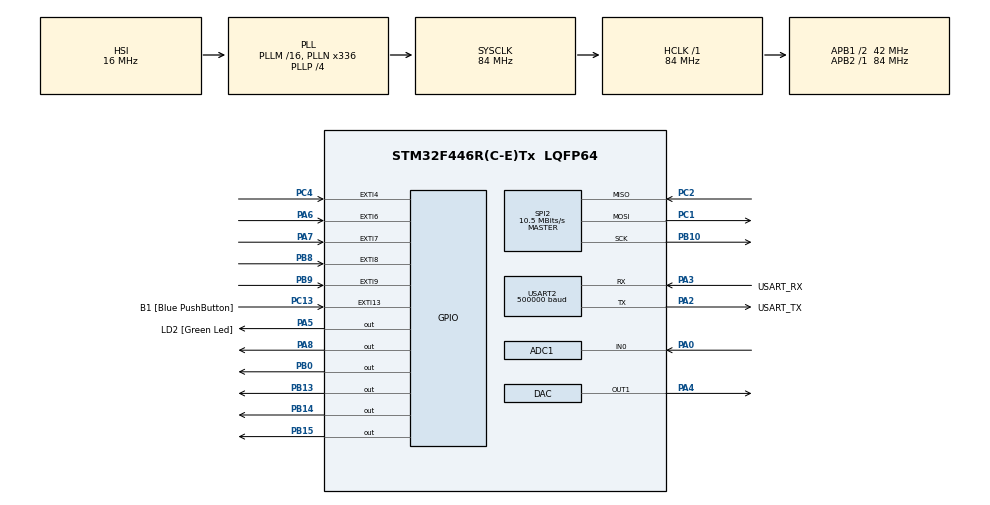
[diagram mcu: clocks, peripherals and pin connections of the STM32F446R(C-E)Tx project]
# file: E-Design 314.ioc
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ADC1.Channel-0\#ChannelRegularConversion=ADC_CHANNEL_0
ADC1.DMAContinuousRequests=ENABLE
ADC1.ExternalTrigConv=ADC_EXTERNALTRIGCONV_T8_TRGO
ADC1.NbrOfConversion=1
ADC1.NbrOfConversionFlag=1
ADC1.Rank-0\#ChannelRegularConversion=1
ADC1.Resolution=ADC_RESOLUTION_8B
ADC1.SamplingTime-0\#ChannelRegularConversion=ADC_SAMPLETIME_3CYCLES
ADC1.master=1
DAC.DAC_Trigger=DAC_TRIGGER_T8_TRGO
Dma.ADC1.2.Direction=DMA_PERIPH_TO_MEMORY
Dma.ADC1.2.FIFOMode=DMA_FIFOMODE_DISABLE
Dma.ADC1.2.Instance=DMA2_Stream0
Dma.ADC1.2.MemDataAlignment=DMA_MDATAALIGN_BYTE
Dma.ADC1.2.MemInc=DMA_MINC_ENABLE
Dma.ADC1.2.Mode=DMA_CIRCULAR
Dma.ADC1.2.PeriphDataAlignment=DMA_PDATAALIGN_BYTE
Dma.ADC1.2.PeriphInc=DMA_PINC_DISABLE
Dma.ADC1.2.Priority=DMA_PRIORITY_LOW
Dma.DAC1.0.Direction=DMA_MEMORY_TO_PERIPH
Dma.DAC1.0.FIFOMode=DMA_FIFOMODE_DISABLE
Dma.DAC1.0.Instance=DMA1_Stream5
Dma.DAC1.0.MemDataAlignment=DMA_MDATAALIGN_HALFWORD
Dma.DAC1.0.MemInc=DMA_MINC_ENABLE
Dma.DAC1.0.Mode=DMA_NORMAL
Dma.DAC1.0.PeriphDataAlignment=DMA_PDATAALIGN_HALFWORD
Dma.DAC1.0.PeriphInc=DMA_PINC_DISABLE
Dma.DAC1.0.Priority=DMA_PRIORITY_LOW
Dma.Request0=DAC1
Dma.Request1=USART2_TX
Dma.Request2=ADC1
Dma.USART2_TX.1.Direction=DMA_MEMORY_TO_PERIPH
Dma.USART2_TX.1.FIFOMode=DMA_FIFOMODE_DISABLE
Dma.USART2_TX.1.Instance=DMA1_Stream6
Dma.USART2_TX.1.MemDataAlignment=DMA_MDATAALIGN_BYTE
Dma.USART2_TX.1.MemInc=DMA_MINC_ENABLE
Dma.USART2_TX.1.Mode=DMA_NORMAL
Dma.USART2_TX.1.PeriphDataAlignment=DMA_PDATAALIGN_BYTE
Dma.USART2_TX.1.PeriphInc=DMA_PINC_DISABLE
Dma.USART2_TX.1.Priority=DMA_PRIORITY_LOW
Mcu.Family=STM32F4
Mcu.Name=STM32F446R(C-E)Tx
Mcu.Package=LQFP64
NVIC.DMA1_Stream5_IRQn=true\:0\:0\:false\:false\:true\:false\:true
NVIC.DMA1_Stream6_IRQn=true\:0\:0\:false\:false\:true\:false\:true
NVIC.DMA2_Stream0_IRQn=true\:0\:0\:false\:false\:true\:false\:true
NVIC.EXTI15_10_IRQn=true\:0\:0\:false\:false\:true\:true\:true
NVIC.EXTI4_IRQn=true\:0\:0\:false\:false\:true\:true\:true
NVIC.EXTI9_5_IRQn=true\:0\:0\:false\:false\:true\:true\:true
NVIC.PriorityGroup=NVIC_PRIORITYGROUP_0
NVIC.TIM3_IRQn=true\:0\:0\:false\:false\:true\:true\:true
PA0-WKUP.Signal=ADCx_IN0
PA13.GPIO_Label=TMS
PA13.Mode=Serial_Wire
PA13.Signal=SYS_JTMS-SWDIO
PA14.GPIO_Label=TCK
PA14.Mode=Serial_Wire
PA14.Signal=SYS_JTCK-SWCLK
PA2.GPIO_Label=USART_TX
PA2.Mode=Asynchronous
PA2.Signal=USART2_TX
PA3.GPIO_Label=USART_RX
PA3.Mode=Asynchronous
PA3.Signal=USART2_RX
PA4.Signal=COMP_DAC1_group
PA5.GPIO_Label=LD2 [Green Led]
PA5.Signal=GPIO_Output
PA6.GPIO_PuPd=GPIO_PULLDOWN
PA6.Signal=GPXTI6
PA7.GPIO_PuPd=GPIO_PULLDOWN
PA7.Signal=GPXTI7
PA8.GPIO_PuPd=GPIO_PULLDOWN
PA8.Signal=GPIO_Output
PB0.Signal=GPIO_Output
PB10.Mode=Full_Duplex_Master
PB10.Signal=SPI2_SCK
PB13.GPIO_PuPd=GPIO_PULLDOWN
PB13.Signal=GPIO_Output
PB14.GPIO_PuPd=GPIO_PULLDOWN
PB14.Signal=GPIO_Output
PB15.GPIO_PuPd=GPIO_PULLDOWN
PB15.Signal=GPIO_Output
PB3.GPIO_Label=SWO
PB3.Signal=SYS_JTDO-SWO
PB8.GPIO_ModeDefaultEXTI=GPIO_MODE_IT_RISING
PB8.GPIO_PuPd=GPIO_PULLDOWN
PB8.Signal=GPXTI8
PB9.GPIO_PuPd=GPIO_PULLDOWN
PB9.Signal=GPXTI9
PC1.Mode=Full_Duplex_Master
PC1.Signal=SPI2_MOSI
PC13.GPIO_Label=B1 [Blue PushButton]
PC13.GPIO_ModeDefaultEXTI=GPIO_MODE_IT_FALLING
PC13.Signal=GPXTI13
PC14-OSC32_IN.Mode=LSE-External-Oscillator
PC14-OSC32_IN.Signal=RCC_OSC32_IN
PC15-OSC32_OUT.Mode=LSE-External-Oscillator
PC15-OSC32_OUT.Signal=RCC_OSC32_OUT
PC2.Mode=Full_Duplex_Master
PC2.Signal=SPI2_MISO
PC4.GPIO_PuPd=GPIO_PULLDOWN
PC4.Signal=GPXTI4
PH0-OSC_IN.Mode=HSE-External-Oscillator
PH0-OSC_IN.Signal=RCC_OSC_IN
PH1-OSC_OUT.Mode=HSE-External-Oscillator
PH1-OSC_OUT.Signal=RCC_OSC_OUT
ProjectManager.HeapSize=0x200
ProjectManager.StackSize=0x400
ProjectManager.TargetToolchain=STM32CubeIDE
RCC.48MHZClocksFreq_Value=84000000
RCC.AHBFreq_Value=84000000
RCC.APB1CLKDivider=RCC_HCLK_DIV2
RCC.APB1Freq_Value=42000000
RCC.APB1TimFreq_Value=84000000
RCC.APB2Freq_Value=84000000
RCC.APB2TimFreq_Value=84000000
RCC.CortexFreq_Value=84000000
RCC.FLatency-AdvancedSettings=FLASH_LATENCY_2
RCC.HCLKFreq_Value=84000000
RCC.HSE_VALUE=8000000
RCC.HSI_VALUE=16000000
RCC.PLLN=336
RCC.PLLP=RCC_PLLP_DIV4
RCC.SYSCLKFreq_VALUE=84000000
RCC.SYSCLKSource=RCC_SYSCLKSOURCE_PLLCLK
RCC.USBFreq_Value=168000000
RCC.VCOOutputFreq_Value=336000000
SH.ADCx_IN0.0=ADC1_IN0,IN0
SH.COMP_DAC1_group.0=DAC_OUT1,DAC_OUT1
SPI2.BaudRatePrescaler=SPI_BAUDRATEPRESCALER_4
SPI2.CalculateBaudRate=10.5 MBits/s
SPI2.Direction=SPI_DIRECTION_2LINES
SPI2.Mode=SPI_MODE_MASTER
SPI2.VirtualType=VM_MASTER
TIM3.Period=2499
TIM3.Prescaler=8400
TIM8.Period=1905
TIM8.TIM_MasterOutputTrigger=TIM_TRGO_UPDATE
USART2.BaudRate=500000
USART2.VirtualMode=VM_ASYNC
VP_FATFS_VS_Generic.Mode=User_defined
VP_TIM3_VS_ClockSourceINT.Mode=Internal
VP_TIM8_VS_ClockSourceINT.Mode=Internal
board=NUCLEO-F446RE

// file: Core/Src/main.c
/* USER CODE BEGIN Header */
/**
 ******************************************************************************
 * @file           : main.c
 * @brief          : Main program body
 ******************************************************************************
 * @attention
 *
 * <h2><center>&copy; Copyright (c) 2020 STMicroelectronics.
 * All rights reserved.</center></h2>
 *
 * This software component is licensed by ST under BSD 3-Clause license,
 * the "License"; You may not use this file except in compliance with the
 * License. You may obtain a copy of the License at:
 *                        opensource.org/licenses/BSD-3-Clause
 *
 ******************************************************************************
 */
/* USER CODE END Header */

#include "main.h"
#include "fatfs.h"

/* USER CODE BEGIN Includes */
#include "variables.h"
#include "project.h"
#include "state_machine.h"
#include "sinewave.h"
#include "sd.h"
/* USER CODE END Includes */

ADC_HandleTypeDef hadc1;
DMA_HandleTypeDef hdma_adc1;

DAC_HandleTypeDef hdac;
DMA_HandleTypeDef hdma_dac1;

SPI_HandleTypeDef hspi2;

TIM_HandleTypeDef htim3;
TIM_HandleTypeDef htim8;

UART_HandleTypeDef huart2;
DMA_HandleTypeDef hdma_usart2_tx;

void SystemClock_Config(void);
static void MX_GPIO_Init(void);
static void MX_DMA_Init(void);
static void MX_USART2_UART_Init(void);
static void MX_TIM3_Init(void);
static void MX_ADC1_Init(void);
static void MX_DAC_Init(void);
static void MX_TIM8_Init(void);
static void MX_SPI2_Init(void);

/* USER CODE BEGIN 0 */

//With DC offset removed-this will give correct information to UART (for TIC to verify) and Signal stored on SD card is in PCM- Will NEED to
//add offset again before sending to DAC
void HAL_ADC_ConvCpltCallback(ADC_HandleTypeDef* hadc)//Cannot write blocking code here (code waiting for something to complete)
{
	if(activeRecordState == RecordOne) {
		for(int i=0; i<1024; i++){//stored zero mean signal in new array/buffer
			accumulator += recbuf[i];
			tempsample=(uint32_t)recbuf[i]-average;
			smoothed_sample=(alpha)*(tempsample)+(1.00f-alpha)*(smoothed_sample);
			tempsample=(uint32_t)smoothed_sample;
			//clamping of maximum values for loud sounds or for non-distortion
			if(tempsample > 127){tempsample=127;}
			if(tempsample < -128){tempsample=-128;}

			outputbuf[i]=(int8_t)tempsample;//convert back to original data type
		}

		//average=accumulator/512;//only for this half of the callback (512 samples) Therefore 1 sampling window is 512/44100=12 milliseconds
		//This means for f=1/(12 milliseconds)=90 Hz. frequencies in signal below 90 removed. But its okay for our purpose we just use an
		//accumulator for the next successive sample
		numavg += 512;

		if(numavg >= 204800){
			average =accumulator/204800;//calculate average
			accumulator=0;//reset sum
			numavg=0;//reset average
		}
		savemid = 1;
	}

	if(activeRecordState == RecordTwo) {
		for(int i=0; i<1024; i++){//stored zero mean signal in new array/buffer
			accumulator += recbuf[i];
			tempsample=(uint32_t)recbuf[i]-average;
			smoothed_sample=(alpha)*(tempsample)+(1.00f-alpha)*(smoothed_sample);
			tempsample=(uint32_t)smoothed_sample;
			//clamping of maximum values for loud sounds or for non-distortion
			if(tempsample > 127){tempsample=127;}
			if(tempsample < -128){tempsample=-128;}

			outputbuf[i]=(int8_t)tempsample;//convert back to original data type
		}

		//average=accumulator/512;//only for this half of the callback (512 samples) Therefore 1 sampling window is 512/44100=12 milliseconds
		//This means for f=1/(12 milliseconds)=90 Hz. frequencies in signal below 90 removed. But its okay for our purpose we just use an
		//accumulator for the next successive sample
		numavg += 512;

		if(numavg >= 204800){
			average =accumulator/204800;//calculate average
			accumulator=0;//reset sum
			numavg=0;//reset average
		}
		savemid_2 = 1;
	}

	if(activeRecordState == RecordThree) {
		for(int i=0; i<1024; i++){//stored zero mean signal in new array/buffer
			accumulator += recbuf[i];
			tempsample=(uint32_t)recbuf[i]-average;
			smoothed_sample=(alpha)*(tempsample)+(1.00f-alpha)*(smoothed_sample);
			tempsample=(uint32_t)smoothed_sample;
			//clamping of maximum values for loud sounds or for non-distortion
			if(tempsample > 127){tempsample=127;}
			if(tempsample < -128){tempsample=-128;}

			outputbuf[i]=(int8_t)tempsample;//convert back to original data type
		}

		//average=accumulator/512;//only for this half of the callback (512 samples) Therefore 1 sampling window is 512/44100=12 milliseconds
		//This means for f=1/(12 milliseconds)=90 Hz. frequencies in signal below 90 removed. But its okay for our purpose we just use an
		//accumulator for the next successive sample
		numavg += 512;

		if(numavg >= 204800){
			average =accumulator/204800;//calculate average
			accumulator=0;//reset sum
			numavg=0;//reset average
		}
		savemid_3 = 1;
	}

}

void HAL_ADC_ConvHalfCpltCallback(ADC_HandleTypeDef* hadc)//Cannot write blocking code here (code waiting for something to complete)
{

	if(activeRecordState == RecordOne) {
		for(int i=0; i<512; i++){//stored zero mean signal in new array/buffer
			accumulator += recbuf[i];
			tempsample=(uint32_t)recbuf[i]-average;
			smoothed_sample=(alpha)*(tempsample)+(1.00f-alpha)*(smoothed_sample);
			tempsample=(uint32_t)smoothed_sample;
			//clamping of maximum values for loud sounds or for non-distortion
			if(tempsample > 127){tempsample=127;}
			if(tempsample < -128){tempsample=-128;}

			outputbuf[i]=(int8_t)tempsample;//convert back to original data type
		}
		//average=accumulator/512;//only for this half of the callback (512 samples) Therefore 1 sampling window is 512/44100=12 milliseconds
		//This means for f=1/(12 milliseconds)=90 Hz. frequencies in signal below 90 removed. But its okay for our purpose we just use an
		//accumulator for the next successive sample
		numavg += 512;
		if(numavg >= 204800){
			average =accumulator/204800;//calculate average
			accumulator=0;//reset sum
			numavg=0;//reset average
		}
		savestart=1;
	}

	if(activeRecordState == RecordTwo) {
		for(int i=0; i<512; i++){//stored zero mean signal in new array/buffer
			accumulator += recbuf[i];
			tempsample=(uint32_t)recbuf[i]-average;
			smoothed_sample=(alpha)*(tempsample)+(1.00f-alpha)*(smoothed_sample);
			tempsample=(uint32_t)smoothed_sample;
			//clamping of maximum values for loud sounds or for non-distortion
			if(tempsample > 127){tempsample=127;}
			if(tempsample < -128){tempsample=-128;}

			outputbuf[i]=(int8_t)tempsample;//convert back to original data type
		}
		//average=accumulator/512;//only for this half of the callback (512 samples) Therefore 1 sampling window is 512/44100=12 milliseconds
		//This means for f=1/(12 milliseconds)=90 Hz. frequencies in signal below 90 removed. But its okay for our purpose we just use an
		//accumulator for the next successive sample
		numavg += 512;
		if(numavg >= 204800){
			average =accumulator/204800;//calculate average
			accumulator=0;//reset sum
			numavg=0;//reset average
		}
		savestart_2=1;
	}

	if(activeRecordState == RecordThree) {
		for(int i=0; i<512; i++){//stored zero mean signal in new array/buffer
			accumulator += recbuf[i];
			tempsample=(uint32_t)recbuf[i]-average;
			smoothed_sample=(alpha)*(tempsample)+(1.00f-alpha)*(smoothed_sample);
			tempsample=(uint32_t)smoothed_sample;
			//clamping of maximum values for loud sounds or for non-distortion
			if(tempsample > 127){tempsample=127;}
			if(tempsample < -128){tempsample=-128;}

			outputbuf[i]=(int8_t)tempsample;//convert back to original data type
		}
		//average=accumulator/512;//only for this half of the callback (512 samples) Therefore 1 sampling window is 512/44100=12 milliseconds
		//This means for f=1/(12 milliseconds)=90 Hz. frequencies in signal below 90 removed. But its okay for our purpose we just use an
		//accumulator for the next successive sample
		numavg += 512;
		if(numavg >= 204800){
			average =accumulator/204800;//calculate average
			accumulator=0;//reset sum
			numavg=0;//reset average
		}
		savestart_3=1;
	}
}

/* USER CODE END 0 */

int main(void){

	/* MCU Configuration--------------------------------------------------------*/

	/* Reset of all peripherals, Initializes the Flash interface and the Systick. */
	HAL_Init();

	/* Configure the system clock */
	SystemClock_Config();

	/* Initialize all configured peripherals */
	MX_GPIO_Init();
	MX_DMA_Init();
	MX_USART2_UART_Init();
	MX_TIM3_Init();
	MX_ADC1_Init();
	MX_DAC_Init();
	MX_TIM8_Init();
	MX_SPI2_Init();
	MX_FATFS_Init();
	/* USER CODE BEGIN 2 */

	wave_init();
	startString();

	__HAL_TIM_ENABLE(&htim8);//for the ADC and the DAC (DMA)
	HAL_ADC_Start_DMA(&hadc1, (uint32_t*) recbuf, 1024);

	/* USER CODE END 2 */

	/* Infinite loop */
	while (1)
	{

		/* USER CODE BEGIN 3 */
		GPIO_PinState check_1= HAL_GPIO_ReadPin(GPIOB,GPIO_PIN_8);
		int trig_check=one_trig;//one_trig is defined in the variables.h, high when "1" button pressed

		processFlags();
		states();
		stateMachine();
	}
	/* USER CODE END 3 */
}

//		GPIO_PinState check_led1=HAL_GPIO_ReadPin(GPIOA,GPIO_PIN_8);
////		int tick_1;
////		int tick_2;
////		if(check_led1==GPIO_PIN_SET){tick_1=HAL_GetTick();}//tick recorded when LED on
////		if(check_led1==GPIO_PIN_RESET){tick_2=HAL_GetTick();}//tick recorded when LED on
void SystemClock_Config(void)
{
	RCC_OscInitTypeDef RCC_OscInitStruct = {0};
	RCC_ClkInitTypeDef RCC_ClkInitStruct = {0};

	/** Configure the main internal regulator output voltage
	 */
	__HAL_RCC_PWR_CLK_ENABLE();
	__HAL_PWR_VOLTAGESCALING_CONFIG(PWR_REGULATOR_VOLTAGE_SCALE3);
	/** Initializes the CPU, AHB and APB busses clocks
	 */
	RCC_OscInitStruct.OscillatorType = RCC_OSCILLATORTYPE_HSI;
	RCC_OscInitStruct.HSIState = RCC_HSI_ON;
	RCC_OscInitStruct.HSICalibrationValue = RCC_HSICALIBRATION_DEFAULT;
	RCC_OscInitStruct.PLL.PLLState = RCC_PLL_ON;
	RCC_OscInitStruct.PLL.PLLSource = RCC_PLLSOURCE_HSI;
	RCC_OscInitStruct.PLL.PLLM = 16;
	RCC_OscInitStruct.PLL.PLLN = 336;
	RCC_OscInitStruct.PLL.PLLP = RCC_PLLP_DIV4;
	RCC_OscInitStruct.PLL.PLLQ = 2;
	RCC_OscInitStruct.PLL.PLLR = 2;
	if (HAL_RCC_OscConfig(&RCC_OscInitStruct) != HAL_OK)
	{
		Error_Handler();
	}
	/** Initializes the CPU, AHB and APB busses clocks
	 */
	RCC_ClkInitStruct.ClockType = RCC_CLOCKTYPE_HCLK|RCC_CLOCKTYPE_SYSCLK
			|RCC_CLOCKTYPE_PCLK1|RCC_CLOCKTYPE_PCLK2;
	RCC_ClkInitStruct.SYSCLKSource = RCC_SYSCLKSOURCE_PLLCLK;
	RCC_ClkInitStruct.AHBCLKDivider = RCC_SYSCLK_DIV1;
	RCC_ClkInitStruct.APB1CLKDivider = RCC_HCLK_DIV2;
	RCC_ClkInitStruct.APB2CLKDivider = RCC_HCLK_DIV1;

	if (HAL_RCC_ClockConfig(&RCC_ClkInitStruct, FLASH_LATENCY_2) != HAL_OK)
	{
		Error_Handler();
	}
}

static void MX_ADC1_Init(void)
{

	ADC_ChannelConfTypeDef sConfig = {0};

	/** Configure the global features of the ADC (Clock, Resolution, Data Alignment and number of conversion)
	 */
	hadc1.Instance = ADC1;
	hadc1.Init.ClockPrescaler = ADC_CLOCK_SYNC_PCLK_DIV4;
	hadc1.Init.Resolution = ADC_RESOLUTION_8B;
	hadc1.Init.ScanConvMode = DISABLE;
	hadc1.Init.ContinuousConvMode = DISABLE;
	hadc1.Init.DiscontinuousConvMode = DISABLE;
	hadc1.Init.ExternalTrigConvEdge = ADC_EXTERNALTRIGCONVEDGE_RISING;
	hadc1.Init.ExternalTrigConv = ADC_EXTERNALTRIGCONV_T8_TRGO;
	hadc1.Init.DataAlign = ADC_DATAALIGN_RIGHT;
	hadc1.Init.NbrOfConversion = 1;
	hadc1.Init.DMAContinuousRequests = ENABLE;
	hadc1.Init.EOCSelection = ADC_EOC_SINGLE_CONV;
	if (HAL_ADC_Init(&hadc1) != HAL_OK)
	{
		Error_Handler();
	}
	/** Configure for the selected ADC regular channel its corresponding rank in the sequencer and its sample time.
	 */
	sConfig.Channel = ADC_CHANNEL_0;
	sConfig.Rank = 1;
	sConfig.SamplingTime = ADC_SAMPLETIME_3CYCLES;
	if (HAL_ADC_ConfigChannel(&hadc1, &sConfig) != HAL_OK)
	{
		Error_Handler();
	}

}

static void MX_DAC_Init(void)
{

	DAC_ChannelConfTypeDef sConfig = {0};

	/** DAC Initialization
	 */
	hdac.Instance = DAC;
	if (HAL_DAC_Init(&hdac) != HAL_OK)
	{
		Error_Handler();
	}
	/** DAC channel OUT1 config
	 */
	sConfig.DAC_Trigger = DAC_TRIGGER_T8_TRGO;
	sConfig.DAC_OutputBuffer = DAC_OUTPUTBUFFER_ENABLE;
	if (HAL_DAC_ConfigChannel(&hdac, &sConfig, DAC_CHANNEL_1) != HAL_OK)
	{
		Error_Handler();
	}

}

static void MX_SPI2_Init(void)
{

	/* SPI2 parameter configuration*/
	hspi2.Instance = SPI2;
	hspi2.Init.Mode = SPI_MODE_MASTER;
	hspi2.Init.Direction = SPI_DIRECTION_2LINES;
	hspi2.Init.DataSize = SPI_DATASIZE_8BIT;
	hspi2.Init.CLKPolarity = SPI_POLARITY_LOW;
	hspi2.Init.CLKPhase = SPI_PHASE_1EDGE;
	hspi2.Init.NSS = SPI_NSS_SOFT;
	hspi2.Init.BaudRatePrescaler = SPI_BAUDRATEPRESCALER_4;
	hspi2.Init.FirstBit = SPI_FIRSTBIT_MSB;
	hspi2.Init.TIMode = SPI_TIMODE_DISABLE;
	hspi2.Init.CRCCalculation = SPI_CRCCALCULATION_DISABLE;
	hspi2.Init.CRCPolynomial = 10;
	if (HAL_SPI_Init(&hspi2) != HAL_OK)
	{
		Error_Handler();
	}

}

static void MX_TIM3_Init(void)
{

	TIM_ClockConfigTypeDef sClockSourceConfig = {0};
	TIM_MasterConfigTypeDef sMasterConfig = {0};

	htim3.Instance = TIM3;
	htim3.Init.Prescaler = 8400;
	htim3.Init.CounterMode = TIM_COUNTERMODE_UP;
	htim3.Init.Period = 2499;
	htim3.Init.ClockDivision = TIM_CLOCKDIVISION_DIV1;
	htim3.Init.AutoReloadPreload = TIM_AUTORELOAD_PRELOAD_DISABLE;
	if (HAL_TIM_Base_Init(&htim3) != HAL_OK)
	{
		Error_Handler();
	}
	sClockSourceConfig.ClockSource = TIM_CLOCKSOURCE_INTERNAL;
	if (HAL_TIM_ConfigClockSource(&htim3, &sClockSourceConfig) != HAL_OK)
	{
		Error_Handler();
	}
	sMasterConfig.MasterOutputTrigger = TIM_TRGO_RESET;
	sMasterConfig.MasterSlaveMode = TIM_MASTERSLAVEMODE_DISABLE;
	if (HAL_TIMEx_MasterConfigSynchronization(&htim3, &sMasterConfig) != HAL_OK)
	{
		Error_Handler();
	}

}

static void MX_TIM8_Init(void)
{

	TIM_ClockConfigTypeDef sClockSourceConfig = {0};
	TIM_MasterConfigTypeDef sMasterConfig = {0};

	htim8.Instance = TIM8;
	htim8.Init.Prescaler = 0;
	htim8.Init.CounterMode = TIM_COUNTERMODE_UP;
	htim8.Init.Period = 1905;
	htim8.Init.ClockDivision = TIM_CLOCKDIVISION_DIV1;
	htim8.Init.RepetitionCounter = 0;
	htim8.Init.AutoReloadPreload = TIM_AUTORELOAD_PRELOAD_DISABLE;
	if (HAL_TIM_Base_Init(&htim8) != HAL_OK)
	{
		Error_Handler();
	}
	sClockSourceConfig.ClockSource = TIM_CLOCKSOURCE_INTERNAL;
	if (HAL_TIM_ConfigClockSource(&htim8, &sClockSourceConfig) != HAL_OK)
	{
		Error_Handler();
	}
	sMasterConfig.MasterOutputTrigger = TIM_TRGO_UPDATE;
	sMasterConfig.MasterSlaveMode = TIM_MASTERSLAVEMODE_DISABLE;
	if (HAL_TIMEx_MasterConfigSynchronization(&htim8, &sMasterConfig) != HAL_OK)
	{
		Error_Handler();
	}

}

static void MX_USART2_UART_Init(void)
{

	huart2.Instance = USART2;
	huart2.Init.BaudRate = 500000;
	huart2.Init.WordLength = UART_WORDLENGTH_8B;
	huart2.Init.StopBits = UART_STOPBITS_1;
	huart2.Init.Parity = UART_PARITY_NONE;
	huart2.Init.Mode = UART_MODE_TX_RX;
	huart2.Init.HwFlowCtl = UART_HWCONTROL_NONE;
	huart2.Init.OverSampling = UART_OVERSAMPLING_16;
	if (HAL_UART_Init(&huart2) != HAL_OK)
	{
		Error_Handler();
	}

}

static void MX_DMA_Init(void)
{

	/* DMA controller clock enable */
	__HAL_RCC_DMA1_CLK_ENABLE();
	__HAL_RCC_DMA2_CLK_ENABLE();

	/* DMA interrupt init */
	/* DMA1_Stream5_IRQn interrupt configuration */
	HAL_NVIC_SetPriority(DMA1_Stream5_IRQn, 0, 0);
	HAL_NVIC_EnableIRQ(DMA1_Stream5_IRQn);
	/* DMA1_Stream6_IRQn interrupt configuration */
	HAL_NVIC_SetPriority(DMA1_Stream6_IRQn, 0, 0);
	HAL_NVIC_EnableIRQ(DMA1_Stream6_IRQn);
	/* DMA2_Stream0_IRQn interrupt configuration */
	HAL_NVIC_SetPriority(DMA2_Stream0_IRQn, 0, 0);
	HAL_NVIC_EnableIRQ(DMA2_Stream0_IRQn);

}

static void MX_GPIO_Init(void)
{
	GPIO_InitTypeDef GPIO_InitStruct = {0};

	/* GPIO Ports Clock Enable */
	__HAL_RCC_GPIOC_CLK_ENABLE();
	__HAL_RCC_GPIOH_CLK_ENABLE();
	__HAL_RCC_GPIOA_CLK_ENABLE();
	__HAL_RCC_GPIOB_CLK_ENABLE();

	/*Configure GPIO pin Output Level */
	HAL_GPIO_WritePin(GPIOA, LD2_Pin|GPIO_PIN_8, GPIO_PIN_RESET);

	/*Configure GPIO pin Output Level */
	HAL_GPIO_WritePin(GPIOB, GPIO_PIN_0|GPIO_PIN_13|GPIO_PIN_14|GPIO_PIN_15, GPIO_PIN_RESET);

	/*Configure GPIO pin : B1_Pin */
	GPIO_InitStruct.Pin = B1_Pin;
	GPIO_InitStruct.Mode = GPIO_MODE_IT_FALLING;
	GPIO_InitStruct.Pull = GPIO_NOPULL;
	HAL_GPIO_Init(B1_GPIO_Port, &GPIO_InitStruct);

	/*Configure GPIO pin : LD2_Pin */
	GPIO_InitStruct.Pin = LD2_Pin;
	GPIO_InitStruct.Mode = GPIO_MODE_OUTPUT_PP;
	GPIO_InitStruct.Pull = GPIO_NOPULL;
	GPIO_InitStruct.Speed = GPIO_SPEED_FREQ_LOW;
	HAL_GPIO_Init(LD2_GPIO_Port, &GPIO_InitStruct);

	/*Configure GPIO pins : PA6 PA7 */
	GPIO_InitStruct.Pin = GPIO_PIN_6|GPIO_PIN_7;
	GPIO_InitStruct.Mode = GPIO_MODE_IT_RISING;
	GPIO_InitStruct.Pull = GPIO_PULLDOWN;
	HAL_GPIO_Init(GPIOA, &GPIO_InitStruct);

	/*Configure GPIO pin : PC4 */
	GPIO_InitStruct.Pin = GPIO_PIN_4;
	GPIO_InitStruct.Mode = GPIO_MODE_IT_RISING;
	GPIO_InitStruct.Pull = GPIO_PULLDOWN;
	HAL_GPIO_Init(GPIOC, &GPIO_InitStruct);

	/*Configure GPIO pin : PB0 */
	GPIO_InitStruct.Pin = GPIO_PIN_0;
	GPIO_InitStruct.Mode = GPIO_MODE_OUTPUT_PP;
	GPIO_InitStruct.Pull = GPIO_NOPULL;
	GPIO_InitStruct.Speed = GPIO_SPEED_FREQ_LOW;
	HAL_GPIO_Init(GPIOB, &GPIO_InitStruct);

	/*Configure GPIO pins : PB13 PB14 PB15 */
	GPIO_InitStruct.Pin = GPIO_PIN_13|GPIO_PIN_14|GPIO_PIN_15;
	GPIO_InitStruct.Mode = GPIO_MODE_OUTPUT_PP;
	GPIO_InitStruct.Pull = GPIO_PULLDOWN;
	GPIO_InitStruct.Speed = GPIO_SPEED_FREQ_LOW;
	HAL_GPIO_Init(GPIOB, &GPIO_InitStruct);

	/*Configure GPIO pin : PA8 */
	GPIO_InitStruct.Pin = GPIO_PIN_8;
	GPIO_InitStruct.Mode = GPIO_MODE_OUTPUT_PP;
	GPIO_InitStruct.Pull = GPIO_PULLDOWN;
	GPIO_InitStruct.Speed = GPIO_SPEED_FREQ_LOW;
	HAL_GPIO_Init(GPIOA, &GPIO_InitStruct);

	/*Configure GPIO pins : PB8 PB9 */
	GPIO_InitStruct.Pin = GPIO_PIN_8|GPIO_PIN_9;
	GPIO_InitStruct.Mode = GPIO_MODE_IT_RISING;
	GPIO_InitStruct.Pull = GPIO_PULLDOWN;
	HAL_GPIO_Init(GPIOB, &GPIO_InitStruct);

	/* EXTI interrupt init*/
	HAL_NVIC_SetPriority(EXTI4_IRQn, 0, 0);
	HAL_NVIC_EnableIRQ(EXTI4_IRQn);

	HAL_NVIC_SetPriority(EXTI9_5_IRQn, 0, 0);
	HAL_NVIC_EnableIRQ(EXTI9_5_IRQn);

	HAL_NVIC_SetPriority(EXTI15_10_IRQn, 0, 0);
	HAL_NVIC_EnableIRQ(EXTI15_10_IRQn);

}

/* USER CODE BEGIN 4 */
void HAL_GPIO_EXTI_Callback(uint16_t GPIO_Pin)
{
	// if triggered interrupt corresponds to specific button, set flag
	switch(GPIO_Pin)
	{
	case GPIO_PIN_8:
		one_trig = 1;
		break;
		// end case button 1
	case GPIO_PIN_7:
		two_trig = 1;
		break;
		// end case button 2
	case GPIO_PIN_6:
		three_trig = 1;
		break;
		// end case button 3
	case GPIO_PIN_4:
		stop_trig = 1;
		break;
		// end case stop button
	case GPIO_PIN_9:
		rec_trig = 1;
		break;
		// end case record button

	} // end switch
} // end HAL_GPIO_EXTI_Callback

void HAL_DAC_ConvCpltCallbackCh1(DAC_HandleTypeDef* hdac)
{
	HAL_DAC_Start_DMA(hdac, DAC_CHANNEL_1,(uint32_t*)dacbuffer, 1024, DAC_ALIGN_12B_R);

	if(activePlayState == PlayOne){playmid=1;}
	if (activePlayState == PlayTwo) {playmid_2=1;}
	if (activePlayState == PlayThree){playmid_3=1;}

}

void HAL_DAC_ConvHalfCpltCallbackCh1(DAC_HandleTypeDef* hdac)
{

	if(activePlayState == PlayOne){playmid=1;}
	if (activePlayState == PlayTwo) {playmid_2=1;}
	if (activePlayState == PlayThree){playmid_3=1;}

}

/* USER CODE END 4 */

void Error_Handler(void)
{
}

/************************ (C) COPYRIGHT STMicroelectronics *****END OF FILE****/
